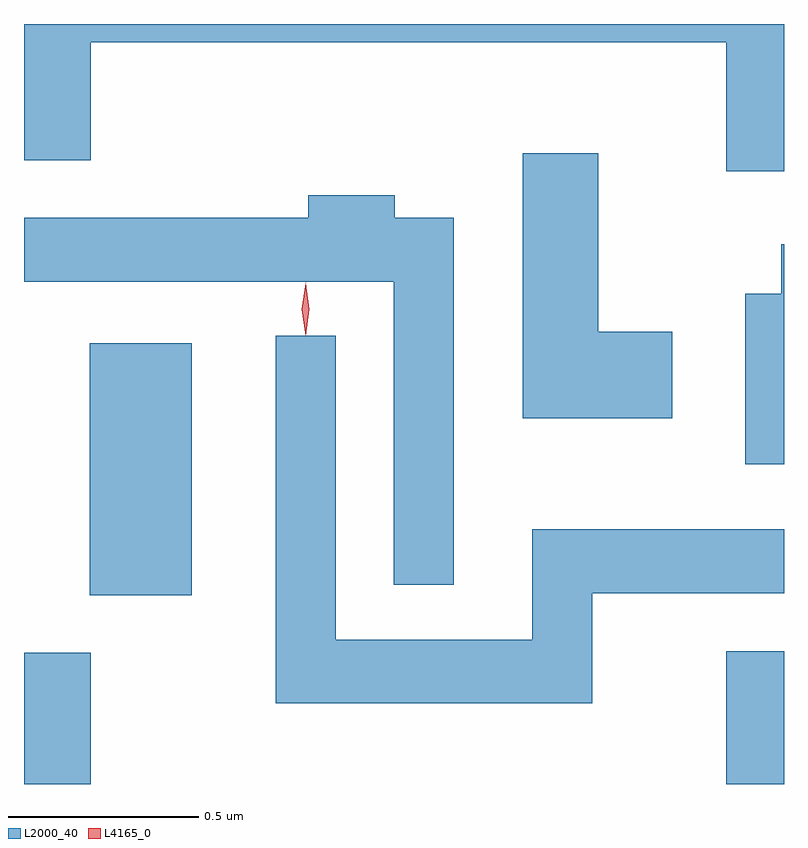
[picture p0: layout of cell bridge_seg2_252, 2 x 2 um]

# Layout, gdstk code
import gdstk
lib = gdstk.Library(unit=1e-6, precision=1e-09)
def R(c, l, rs):  # rectangles x0, y0, x1, y1
    for r in rs: c.add(gdstk.rectangle(r[:2], r[2:], *l))
def P(c, l, *ps):  # polygons
    for p in ps: c.add(gdstk.Polygon(p, *l))
L2000_40 = (2000, 40)
L4165_0 = (4165, 0)

bridge_seg2_252 = lib.new_cell('bridge_seg2_252')
R(bridge_seg2_252, L2000_40, [(548.093,1075.224,548.269,1075.569), (549.941,1075.224,550.093,1075.574), (548.266,1075.721,548.534,1076.384)])
P(bridge_seg2_252, L2000_40, [(550.093,1077.224),(548.093,1077.224),(548.093,1076.866),(548.269,1076.866),(548.269,1077.176),(549.941,1077.176),(549.941,1076.836),(550.093,1076.836)],
  [(549.799,1076.414),(549.604,1076.414),(549.604,1076.884),(549.406,1076.884),(549.406,1076.186),(549.799,1076.186)],
  [(549.224,1076.714),(549.069,1076.714),(549.069,1076.774),(548.841,1076.774),(548.841,1076.714),(548.093,1076.714),(548.093,1076.546),(549.066,1076.546),(549.066,1075.748),(549.224,1075.748)],
  [(550.093,1076.644),(550.086,1076.644),(550.086,1076.514),(549.991,1076.514),(549.991,1076.066),(550.093,1076.066)],
  [(549.589,1075.726),(550.093,1075.726),(550.093,1075.894),(549.431,1075.894),(549.431,1075.604),(548.914,1075.604),(548.914,1076.403),(548.756,1076.403),(548.756,1075.436),(549.589,1075.436)])
P(bridge_seg2_252, L4165_0, [(548.834,1076.404),(548.834,1076.404),(548.824,1076.474),(548.834,1076.542),(548.834,1076.543),(548.835,1076.542),(548.844,1076.474),(548.835,1076.404)])

lib.write_gds('bridge_seg2_252.gds')
